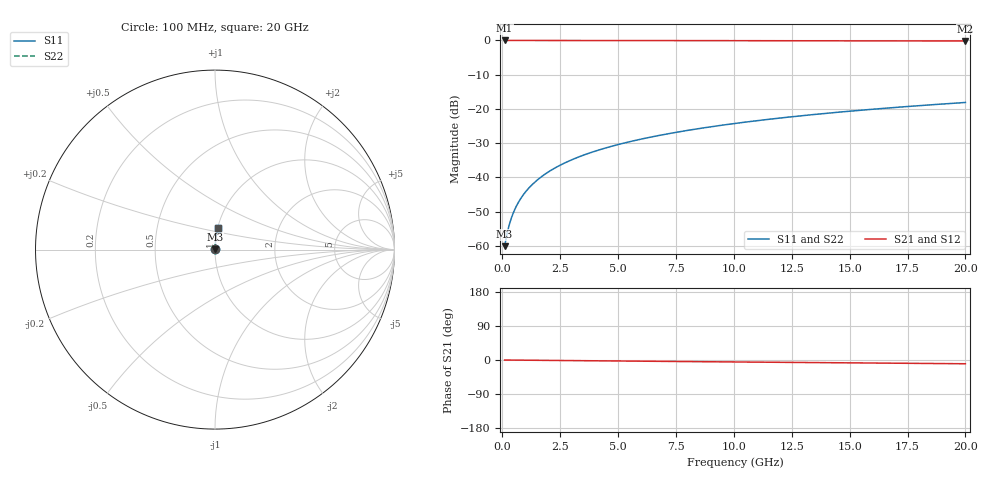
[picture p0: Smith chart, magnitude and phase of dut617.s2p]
! Touchstone file exported from HFSS 2024.1.0
!  File:  C:/UserFiles/LocalFiles/RDL_TSV_Batchsim/temp_RDL_bottom_617_1779783902.aedt
!  Generated:  04:27:32 PM May 26, 2026
!  Design:  RDL_bottom
!  Project:  temp_RDL_bottom_617_1779783902
!  Setup:  Setup1
!  Solution:  Sweep
! Variables:
!  dtsv = 10.80580581um
!  hbump = 3um
!  htsv = 98um
!  ldown = 111.08um
!  lrdl = 100um
!  p = 40
!  p1 = 40.61um
!  rhole = 1um
!  t = 450um
!  tdown = 4.55um
!  trdl = 3.915915916um
!  wdown = 13.89um
!  wrdl = 20um
# GHz S MA R 50.000000
! Terminal data exported
! Port[1] = RDL1_T1
! Port[2] = RDL1_T2
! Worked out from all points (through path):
!   200 points, 100 MHz to 20 GHz, reference 50 ohm
!   highest |S21| = -0.01 dB at 100 MHz (marker M1); lowest = -0.2 dB at 20 GHz (marker M2)
!   group delay of S21, straight-line fit = 1.37 ps
!   lowest |S11| = -60.1 dB at 100 MHz (marker M3), VSWR 1.00, Z = 50.1 + j0.0633 ohm
!   |S11| at or under -10 dB: start of sweep to end of sweep
!   |S22| runs from -60.1 to -18.1 dB; largest |S21 - S12| = 3.2e-15
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0.1  0.0009885 39.7  0.9992 -0.1  0.9992 -0.1  0.0009885 39.7
! Gamma 0 0 0 0
! Port Impedance 50 0 50 0
0.2  0.001477 58.1  0.9992 -0.1  0.9992 -0.1  0.001477 58.1
0.3  0.002029 66.7  0.9992 -0.2  0.9992 -0.2  0.002029 66.7
0.4  0.002598 71.5  0.9992 -0.2  0.9992 -0.2  0.002598 71.5
0.5  0.003175 74.6  0.9991 -0.3  0.9991 -0.3  0.003175 74.6
0.6  0.003756 76.9  0.9991 -0.3  0.9991 -0.3  0.003756 76.9
0.8  0.004928 79.8  0.9991 -0.4  0.9991 -0.4  0.004928 79.8
1.1  0.006701 82.3  0.999 -0.6  0.999 -0.6  0.006701 82.3
1.5  0.00908 84.1  0.9989 -0.8  0.9989 -0.8  0.00908 84.1
1.8  0.01087 84.9  0.9988 -1.0  0.9988 -1.0  0.01087 84.9
2.1  0.01267 85.5  0.9986 -1.1  0.9986 -1.1  0.01267 85.5
2.7  0.01626 86.2  0.9983 -1.5  0.9983 -1.5  0.01626 86.2
3.5  0.02107 86.7  0.9979 -1.9  0.9979 -1.9  0.02107 86.7
4.2  0.02529 86.9  0.9974 -2.2  0.9974 -2.2  0.02529 86.9
5  0.03014 87.0  0.9968 -2.7  0.9968 -2.7  0.03014 87.0
5.9  0.03562 87.0  0.996 -3.1  0.996 -3.1  0.03561 87.0
6.8  0.04113 87.0  0.9952 -3.6  0.9952 -3.6  0.04113 87.0
8.3  0.05039 86.7  0.9937 -4.3  0.9937 -4.3  0.05039 86.7
10.1  0.06162 86.2  0.992 -5.2  0.992 -5.2  0.06162 86.2
13.4  0.08243 85.0  0.9886 -6.8  0.9886 -6.8  0.08243 85.0
16.7  0.1033 83.5  0.9852 -8.4  0.9852 -8.4  0.1033 83.5
20  0.1241 81.9  0.9816 -9.9  0.9816 -9.9  0.1241 81.9
